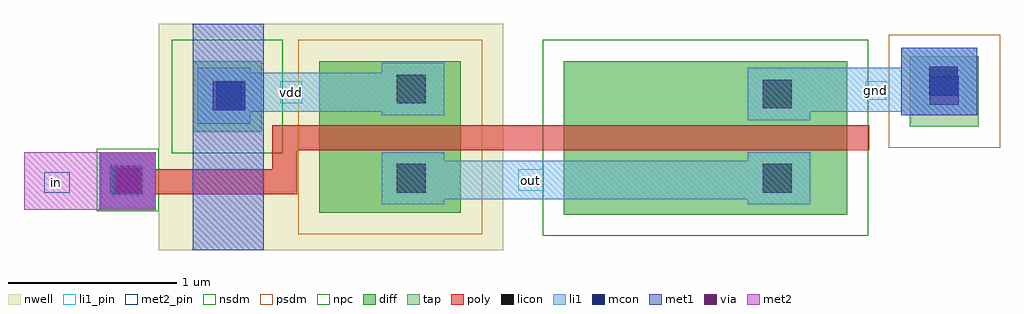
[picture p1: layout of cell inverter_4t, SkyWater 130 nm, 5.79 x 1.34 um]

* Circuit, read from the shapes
.subckt inverter_4t gnd in out vdd
XM1 gnd in out gnd sky130_fd_pr__nfet_01v8 w=1.68 l=0.15
XM2 vdd in out vdd sky130_fd_pr__pfet_01v8 w=0.84 l=0.15
.ends

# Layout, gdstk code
import gdstk
lib = gdstk.Library(unit=1e-6, precision=1e-09)
def R(c, l, rs):  # rectangles x0, y0, x1, y1
    for r in rs: c.add(gdstk.rectangle(r[:2], r[2:], *l))
nwell = (64, 20)
diff = (65, 20)
tap = (65, 44)
poly = (66, 20)
licon = (66, 44)
li1_pin = (67, 16)
li1 = (67, 20)
mcon = (67, 44)
met1 = (68, 20)
via = (68, 44)
met2_pin = (69, 16)
met2 = (69, 20)
nsdm = (93, 44)
psdm = (94, 20)
npc = (95, 20)

inverter_4t = lib.new_cell('inverter_4t')
R(inverter_4t, nwell, [(1.65,0.1,3.69,1.44)])
R(inverter_4t, diff, [(4.05,0.31,5.73,1.22), (2.6,0.32,3.44,1.22)])
R(inverter_4t, tap, [(1.85,0.8,2.26,1.22), (6.1,0.83,6.51,1.25)])
R(inverter_4t, poly, [(1.3,0.34,1.63,0.43), (1.3,0.43,2.47,0.58), (1.3,0.58,1.63,0.68), (2.32,0.58,2.47,0.69), (2.32,0.69,5.86,0.84)])
R(inverter_4t, licon, [(1.38,0.43,1.55,0.6), (3.06,0.44,3.23,0.61), (5.23,0.44,5.4,0.61), (1.97,0.93,2.14,1.1), (5.23,0.94,5.4,1.11), (6.22,0.96,6.39,1.13), (3.06,0.97,3.23,1.14)])
R(inverter_4t, li1_pin, [(3.78,0.45,3.93,0.58), (2.37,0.97,2.5,1.1), (5.84,0.99,5.96,1.1)])
R(inverter_4t, li1, [(1.3,0.34,1.63,0.68), (2.97,0.37,3.34,0.4), (5.14,0.37,5.51,0.4), (2.97,0.4,5.51,0.63), (2.97,0.63,3.34,0.68), (5.14,0.63,5.51,0.68), (1.88,0.85,2.19,0.92), (5.14,0.87,5.51,0.92), (2.97,0.9,3.34,0.92), (6.05,0.9,6.5,0.92), (1.88,0.92,3.34,1.15), (5.14,0.92,6.5,1.18), (1.88,1.15,2.19,1.18), (2.97,1.15,3.34,1.21), (6.05,1.18,6.5,1.3)])
R(inverter_4t, mcon, [(1.36,0.43,1.53,0.6), (1.99,0.93,2.16,1.1), (6.215,1.015,6.385,1.185)])
R(inverter_4t, met1, [(1.85,0.1,2.27,1.44), (1.3,0.34,1.63,0.68), (6.05,0.9,6.5,1.3)])
R(inverter_4t, via, [(1.395,0.435,1.545,0.585)])
R(inverter_4t, met2_pin, [(0.97,0.44,1.12,0.56)])
R(inverter_4t, met2, [(0.85,0.34,1.63,0.68)])
R(inverter_4t, nsdm, [(3.925,0.185,5.855,1.345), (1.725,0.675,2.385,1.345)])
R(inverter_4t, psdm, [(2.475,0.195,3.565,1.345), (5.975,0.705,6.635,1.375)])
R(inverter_4t, npc, [(1.28,0.33,1.65,0.7)])
inverter_4t.add(gdstk.Label('vdd', (2.435,1.035), layer=67, texttype=5))
inverter_4t.add(gdstk.Label('gnd', (5.9,1.045), layer=67, texttype=5))
inverter_4t.add(gdstk.Label('out', (3.855,0.515), layer=67, texttype=5))
inverter_4t.add(gdstk.Label('in', (1.045,0.5), layer=69, texttype=5))

lib.write_gds('inverter_4t.gds')
